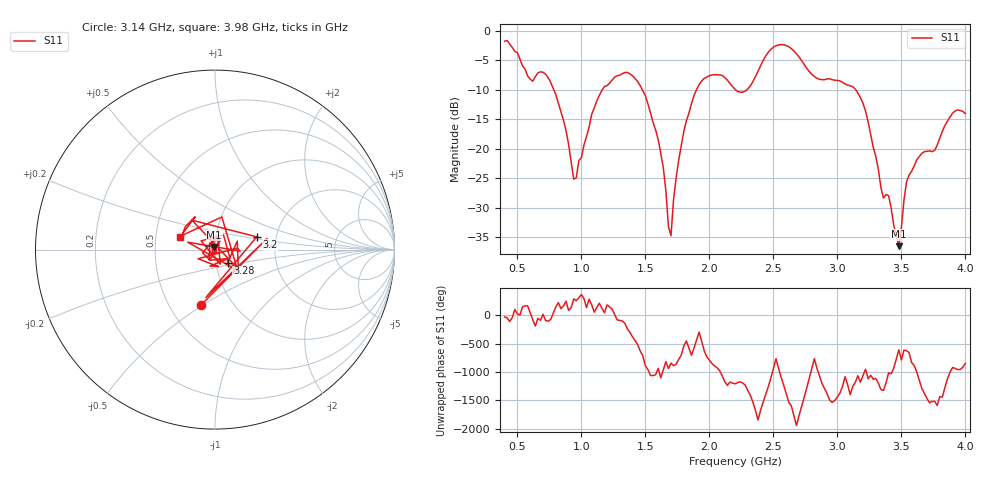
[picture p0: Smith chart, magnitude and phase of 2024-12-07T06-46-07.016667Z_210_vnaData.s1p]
!Created with skrf (http://scikit-rf.org).
# Hz S RI R 50.0
!freq ReS11 ImS11
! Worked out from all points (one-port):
!   181 points, 400 MHz to 4 GHz, reference 50 ohm
!   lowest |S11| = -36.5 dB at 3.48 GHz (marker M1), VSWR 1.03, Z = 49.5 + j1.4 ohm
!   |S11| at or under -10 dB: 784.2 MHz to 1.163 GHz (379.2 MHz wide, 38.9 % of centre); 1.476 GHz to 1.899 GHz (422.6 MHz wide, 25 % of centre); 3.143 GHz to end of sweep (the widest 3 of 4)
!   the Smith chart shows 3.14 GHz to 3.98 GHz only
!   S11 on the Smith chart (normalised r, x): 3.14 GHz: 0.71, -0.49; 3.2 GHz: 1.58, +0.24; 3.28 GHz: 1.14, -0.17; 3.98 GHz: 0.67, +0.09
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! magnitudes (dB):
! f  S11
! 400 MHz  -1.8
! 600 MHz  -8.2
! 740 MHz  -7.9
! 860 MHz  -15.2
! 940 MHz  -25.2
! 960 MHz  -24.9
! 1.12 GHz  -11.9
! 1.3 GHz  -7.5
! 1.5 GHz  -11.0
! 1.62 GHz  -20.8
! 1.68 GHz  -33.2
! 1.7 GHz  -34.7
! 1.76 GHz  -21.9
! 1.82 GHz  -15.3
! 1.94 GHz  -8.5
! 2.2 GHz  -9.9
! 2.3 GHz  -9.9
! 2.5 GHz  -2.8
! 2.66 GHz  -3.4
! 2.84 GHz  -8.1
! 3.1 GHz  -9.3
! 3.14 GHz  -9.9
! 3.2 GHz  -12.3
! 3.28 GHz  -19.7
! 3.48 GHz  -36.5
! 3.56 GHz  -24.4
! 3.98 GHz  -13.7
! 4 GHz  -14.0
